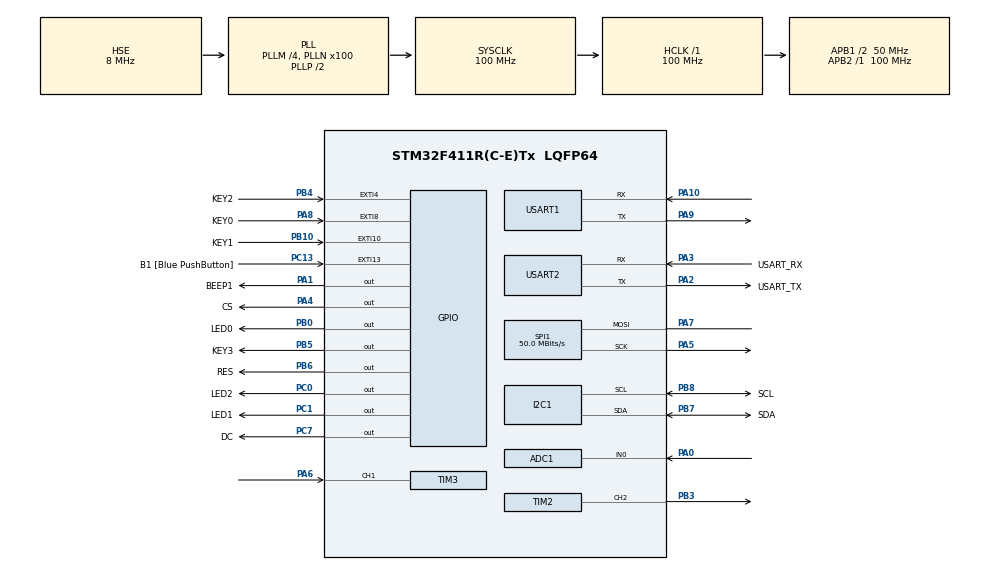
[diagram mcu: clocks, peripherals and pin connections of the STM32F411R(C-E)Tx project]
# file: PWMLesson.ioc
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ADC1.Channel-0\#ChannelRegularConversion=ADC_CHANNEL_0
ADC1.ContinuousConvMode=ENABLE
ADC1.DMAContinuousRequests=ENABLE
ADC1.NbrOfConversion=1
ADC1.NbrOfConversionFlag=1
ADC1.Rank-0\#ChannelRegularConversion=1
ADC1.SamplingTime-0\#ChannelRegularConversion=ADC_SAMPLETIME_3CYCLES
ADC1.ScanConvMode=ENABLE
ADC1.master=1
Dma.ADC1.0.Direction=DMA_PERIPH_TO_MEMORY
Dma.ADC1.0.FIFOMode=DMA_FIFOMODE_DISABLE
Dma.ADC1.0.Instance=DMA2_Stream0
Dma.ADC1.0.MemDataAlignment=DMA_MDATAALIGN_WORD
Dma.ADC1.0.MemInc=DMA_MINC_ENABLE
Dma.ADC1.0.Mode=DMA_CIRCULAR
Dma.ADC1.0.PeriphDataAlignment=DMA_PDATAALIGN_WORD
Dma.ADC1.0.PeriphInc=DMA_PINC_DISABLE
Dma.ADC1.0.Priority=DMA_PRIORITY_LOW
Dma.Request0=ADC1
Dma.Request1=SPI1_TX
Dma.SPI1_TX.1.Direction=DMA_MEMORY_TO_PERIPH
Dma.SPI1_TX.1.FIFOMode=DMA_FIFOMODE_DISABLE
Dma.SPI1_TX.1.Instance=DMA2_Stream2
Dma.SPI1_TX.1.MemDataAlignment=DMA_MDATAALIGN_BYTE
Dma.SPI1_TX.1.MemInc=DMA_MINC_ENABLE
Dma.SPI1_TX.1.Mode=DMA_NORMAL
Dma.SPI1_TX.1.PeriphDataAlignment=DMA_PDATAALIGN_BYTE
Dma.SPI1_TX.1.PeriphInc=DMA_PINC_DISABLE
Dma.SPI1_TX.1.Priority=DMA_PRIORITY_LOW
Mcu.Family=STM32F4
Mcu.Name=STM32F411R(C-E)Tx
Mcu.Package=LQFP64
NVIC.DMA2_Stream0_IRQn=true\:0\:0\:false\:false\:true\:false\:true\:true
NVIC.DMA2_Stream2_IRQn=true\:0\:0\:false\:false\:true\:false\:true\:true
NVIC.EXTI15_10_IRQn=true\:2\:0\:true\:false\:true\:true\:true\:true
NVIC.EXTI4_IRQn=true\:3\:0\:true\:false\:true\:true\:true\:true
NVIC.EXTI9_5_IRQn=true\:1\:0\:true\:false\:true\:true\:true\:true
NVIC.PriorityGroup=NVIC_PRIORITYGROUP_2
NVIC.TIM3_IRQn=true\:0\:0\:false\:false\:true\:true\:true\:true
PA0-WKUP.Signal=ADCx_IN0
PA1.GPIO_Label=BEEP1
PA1.GPIO_PuPd=GPIO_PULLUP
PA1.Signal=GPIO_Output
PA10.Mode=Asynchronous
PA10.Signal=USART1_RX
PA13.GPIO_Label=TMS
PA13.Mode=Serial_Wire
PA13.Signal=SYS_JTMS-SWDIO
PA14.GPIO_Label=TCK
PA14.Mode=Serial_Wire
PA14.Signal=SYS_JTCK-SWCLK
PA2.GPIO_Label=USART_TX
PA2.Mode=Asynchronous
PA2.Signal=USART2_TX
PA3.GPIO_Label=USART_RX
PA3.Mode=Asynchronous
PA3.Signal=USART2_RX
PA4.GPIO_Label=CS
PA4.GPIO_Speed=GPIO_SPEED_FREQ_VERY_HIGH
PA4.Signal=GPIO_Output
PA5.Mode=Simplex_Bidirectional_Master
PA5.Signal=SPI1_SCK
PA6.Signal=S_TIM3_CH1
PA7.Mode=Simplex_Bidirectional_Master
PA7.Signal=SPI1_MOSI
PA8.GPIO_Label=KEY0
PA8.Signal=GPXTI8
PA9.Mode=Asynchronous
PA9.Signal=USART1_TX
PB0.GPIO_Label=LED0
PB0.GPIO_PuPd=GPIO_PULLUP
PB0.Signal=GPIO_Output
PB10.GPIO_Label=KEY1
PB10.Signal=GPXTI10
PB3.Signal=S_TIM2_CH2
PB4.GPIO_Label=KEY2
PB4.Signal=GPXTI4
PB5.GPIO_Label=KEY3
PB5.Signal=GPIO_Output
PB6.GPIO_Label=RES
PB6.GPIO_Speed=GPIO_SPEED_FREQ_VERY_HIGH
PB6.Signal=GPIO_Output
PB7.GPIO_Label=SDA
PB7.Mode=I2C
PB7.Signal=I2C1_SDA
PB8.GPIO_Label=SCL
PB8.Mode=I2C
PB8.Signal=I2C1_SCL
PC0.GPIO_Label=LED2
PC0.GPIO_PuPd=GPIO_PULLUP
PC0.Signal=GPIO_Output
PC1.GPIO_Label=LED1
PC1.GPIO_PuPd=GPIO_PULLUP
PC1.Signal=GPIO_Output
PC13-ANTI_TAMP.GPIO_Label=B1 [Blue PushButton]
PC13-ANTI_TAMP.GPIO_ModeDefaultEXTI=GPIO_MODE_IT_FALLING
PC13-ANTI_TAMP.Signal=GPXTI13
PC14-OSC32_IN.Mode=LSE-External-Oscillator
PC14-OSC32_IN.Signal=RCC_OSC32_IN
PC15-OSC32_OUT.Mode=LSE-External-Oscillator
PC15-OSC32_OUT.Signal=RCC_OSC32_OUT
PC7.GPIO_Label=DC
PC7.GPIO_Speed=GPIO_SPEED_FREQ_VERY_HIGH
PC7.Signal=GPIO_Output
PH0\ -\ OSC_IN.Mode=HSE-External-Oscillator
PH0\ -\ OSC_IN.Signal=RCC_OSC_IN
PH1\ -\ OSC_OUT.Mode=HSE-External-Oscillator
PH1\ -\ OSC_OUT.Signal=RCC_OSC_OUT
ProjectManager.HeapSize=0x200
ProjectManager.StackSize=0x400
ProjectManager.TargetToolchain=MDK-ARM V5.32
RCC.48MHZClocksFreq_Value=50000000
RCC.AHBFreq_Value=100000000
RCC.APB1CLKDivider=RCC_HCLK_DIV2
RCC.APB1Freq_Value=50000000
RCC.APB1TimFreq_Value=100000000
RCC.APB2Freq_Value=100000000
RCC.APB2TimFreq_Value=100000000
RCC.CortexFreq_Value=100000000
RCC.FLatency-AdvancedSettings=FLASH_LATENCY_3
RCC.HCLKFreq_Value=100000000
RCC.HSE_VALUE=8000000
RCC.HSI_VALUE=16000000
RCC.PLLM=4
RCC.PLLN=100
RCC.PLLSourceVirtual=RCC_PLLSOURCE_HSE
RCC.SYSCLKFreq_VALUE=100000000
RCC.SYSCLKSource=RCC_SYSCLKSOURCE_PLLCLK
RCC.VCOOutputFreq_Value=200000000
SH.ADCx_IN0.0=ADC1_IN0,IN0
SH.S_TIM2_CH2.0=TIM2_CH2,PWM Generation2 CH2
SH.S_TIM3_CH1.0=TIM3_CH1,TriggerSource_TI1FP1
SH.S_TIM3_CH1.1=TIM3_CH1,Input_Capture1_from_TI1
SPI1.CalculateBaudRate=50.0 MBits/s
SPI1.DataSize=SPI_DATASIZE_8BIT
SPI1.Direction=SPI_DIRECTION_1LINE
SPI1.Mode=SPI_MODE_MASTER
SPI1.VirtualType=VM_MASTER
TIM2.AutoReloadPreload=TIM_AUTORELOAD_PRELOAD_ENABLE
TIM2.Channel-PWM\ Generation2\ CH2=TIM_CHANNEL_2
TIM2.Period=1000-1
TIM2.Prescaler=100-1
TIM2.Pulse-PWM\ Generation2\ CH2=80-1
TIM3.Channel-Input_Capture1_from_TI1=TIM_CHANNEL_1
TIM3.Channel-Input_Capture2_from_TI1_63=TIM_CHANNEL_2
TIM3.ICPolarity_CH2=TIM_INPUTCHANNELPOLARITY_FALLING
TIM3.Prescaler=10000-1
USART1.VirtualMode=VM_ASYNC
USART2.VirtualMode=VM_ASYNC
VP_TIM2_VS_ClockSourceINT.Mode=Internal
VP_TIM3_VS_ClockSourceINT.Mode=Internal
VP_TIM3_VS_ControllerModeReset.Mode=Reset Mode
VP_TIM3_VS_indirect_ch1.Mode=Input_Capture2_from_TI1_63
board=NUCLEO-F411RE

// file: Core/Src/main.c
/* USER CODE BEGIN Header */
/**
  ******************************************************************************
  * @file           : main.c
  * @brief          : Main program body
  ******************************************************************************
  * @attention
  *
  * Copyright (c) 2023 STMicroelectronics.
  * All rights reserved.
  *
  * This software is licensed under terms that can be found in the LICENSE file
  * in the root directory of this software component.
  * If no LICENSE file comes with this software, it is provided AS-IS.
  *
  ******************************************************************************
  */
/* USER CODE END Header */
#include "main.h"
#include "adc.h"
#include "dma.h"
#include "i2c.h"
#include "spi.h"
#include "tim.h"
#include "usart.h"
#include "gpio.h"

/* USER CODE BEGIN Includes */
#include "user_pwm.h"
#include "ST7789_Driver.h"
#include "example.h"
#include "stdio.h"
/* USER CODE END Includes */

/* USER CODE BEGIN PTD */

/* ============================== ADC采样相关变量 =============================== */
#define ADC_SAMPLE_NUM 30
uint32_t ADC_Value[ADC_SAMPLE_NUM];
uint8_t adc_ave_i;
uint32_t adc_value;
float voltage;
/* ============================== ADC采样相关变量 =============================== */
char FreqSetStr[60];
char DutySetStr[100];
char FreqMeasrueStr[60];
char DutyMeasrueStr[100];

uint16_t PWM_RisingCount = 1;
uint16_t PWM_FallingCount = 1;
float duty;

/* USER CODE END PTD */

void SystemClock_Config(void);

int main(void)
{

  /* MCU Configuration--------------------------------------------------------*/

  /* Reset of all peripherals, Initializes the Flash interface and the Systick. */
  HAL_Init();

  /* Configure the system clock */
  SystemClock_Config();

  /* Initialize all configured peripherals */
  MX_GPIO_Init();
  MX_DMA_Init();
  MX_USART2_UART_Init();
  MX_SPI1_Init();
  MX_USART1_UART_Init();
  MX_ADC1_Init();
  MX_I2C1_Init();
  MX_TIM2_Init();
  MX_TIM3_Init();
  /* USER CODE BEGIN 2 */

ST7789_Init();
ST7789_Fill_Screen(BLACK);
LCD_Display_String(55,60,"Frequency Meter",WHITE,BLACK);

HAL_ADC_Start_DMA(&hadc1, (uint32_t*)&ADC_Value, ADC_SAMPLE_NUM);

HAL_TIM_PWM_Start(&htim2,TIM_CHANNEL_2);
HAL_TIM_IC_Start_IT(&htim3,TIM_CHANNEL_1);
HAL_TIM_IC_Start_IT(&htim3,TIM_CHANNEL_2);

uint8_t adc_change_fre = 0;
double fre,duty;

  /* USER CODE END 2 */

  /* Infinite loop */
  /* USER CODE BEGIN WHILE */
  while (1)
  {
	  voltage = adc_value*3.3f/4096;

	  if(HAL_GPIO_ReadPin(KEY0_GPIO_Port,KEY0_Pin) == 0)
	  {
			HAL_Delay(20);
			if(HAL_GPIO_ReadPin(KEY0_GPIO_Port,KEY0_Pin) == 0)
			{
				while(HAL_GPIO_ReadPin(KEY0_GPIO_Port,KEY0_Pin) == 0);
				if(adc_change_fre == 1)
					  adc_change_fre = 0;
				else if(adc_change_fre == 0)
					  adc_change_fre = 1;
			}
	   }

	  if(!adc_change_fre == 1)
	  {
		  HAL_GPIO_WritePin(LED1_GPIO_Port,LED1_Pin,1);
		  fre = voltage*30;
	  }
	  else if(!adc_change_fre == 0)
	  {
		  HAL_GPIO_WritePin(LED1_GPIO_Port,LED1_Pin,0);
		  duty = voltage*30;
	  }

	  set_pwm(&htim2, TIM_CHANNEL_2, fre, duty);

	  sprintf(FreqSetStr,"FreqSet: %04dHz",(uint16_t)(fre));
	  LCD_Display_String(53,100,FreqSetStr,WHITE,BLACK);
	  sprintf(DutySetStr,"DutySet: %1.2f%%",duty);
	  LCD_Display_String(53,120,DutySetStr,WHITE,BLACK);
	  sprintf(FreqMeasrueStr,"FreqMeasrue: %04dHz",10000/PWM_RisingCount);
	  LCD_Display_String(53,140,FreqMeasrueStr,WHITE,BLACK);
	  sprintf(DutyMeasrueStr,"DutyMeasrue: %1.2f%%",duty);
	  LCD_Display_String(53,160,DutyMeasrueStr,WHITE,BLACK);

    /* USER CODE END WHILE */

  }
}

void SystemClock_Config(void)
{
  RCC_OscInitTypeDef RCC_OscInitStruct = {0};
  RCC_ClkInitTypeDef RCC_ClkInitStruct = {0};

  /** Configure the main internal regulator output voltage
  */
  __HAL_RCC_PWR_CLK_ENABLE();
  __HAL_PWR_VOLTAGESCALING_CONFIG(PWR_REGULATOR_VOLTAGE_SCALE1);

  /** Initializes the RCC Oscillators according to the specified parameters
  * in the RCC_OscInitTypeDef structure.
  */
  RCC_OscInitStruct.OscillatorType = RCC_OSCILLATORTYPE_HSE;
  RCC_OscInitStruct.HSEState = RCC_HSE_ON;
  RCC_OscInitStruct.PLL.PLLState = RCC_PLL_ON;
  RCC_OscInitStruct.PLL.PLLSource = RCC_PLLSOURCE_HSE;
  RCC_OscInitStruct.PLL.PLLM = 4;
  RCC_OscInitStruct.PLL.PLLN = 100;
  RCC_OscInitStruct.PLL.PLLP = RCC_PLLP_DIV2;
  RCC_OscInitStruct.PLL.PLLQ = 4;
  if (HAL_RCC_OscConfig(&RCC_OscInitStruct) != HAL_OK)
  {
    Error_Handler();
  }

  /** Initializes the CPU, AHB and APB buses clocks
  */
  RCC_ClkInitStruct.ClockType = RCC_CLOCKTYPE_HCLK|RCC_CLOCKTYPE_SYSCLK
                              |RCC_CLOCKTYPE_PCLK1|RCC_CLOCKTYPE_PCLK2;
  RCC_ClkInitStruct.SYSCLKSource = RCC_SYSCLKSOURCE_PLLCLK;
  RCC_ClkInitStruct.AHBCLKDivider = RCC_SYSCLK_DIV1;
  RCC_ClkInitStruct.APB1CLKDivider = RCC_HCLK_DIV2;
  RCC_ClkInitStruct.APB2CLKDivider = RCC_HCLK_DIV1;

  if (HAL_RCC_ClockConfig(&RCC_ClkInitStruct, FLASH_LATENCY_3) != HAL_OK)
  {
    Error_Handler();
  }
}

/* USER CODE BEGIN 4 */
void HAL_SYSTICK_Callback()
{
	for(adc_ave_i = 0, adc_value = 0; adc_ave_i < ADC_SAMPLE_NUM;)
		adc_value += ADC_Value[adc_ave_i++];

	adc_value = adc_value / ADC_SAMPLE_NUM;
}

void HAL_TIM_IC_CaptureCallback(TIM_HandleTypeDef *htim)
{
	if(htim->Channel == HAL_TIM_ACTIVE_CHANNEL_1)
    //注意这里为HAL_TIM_ACTIVE_CHANNEL_1而不是TIM_CHANNEL_1
	{
		PWM_RisingCount = HAL_TIM_ReadCapturedValue(&htim3,TIM_CHANNEL_1);
		duty = (float)PWM_FallingCount / PWM_RisingCount;
	}
	if(htim->Channel == HAL_TIM_ACTIVE_CHANNEL_2)
	{
		PWM_FallingCount = HAL_TIM_ReadCapturedValue(&htim3,TIM_CHANNEL_2);
	}
}
/* USER CODE END 4 */

void Error_Handler(void)
{
  __disable_irq();
  while (1)
  {
  }
}
